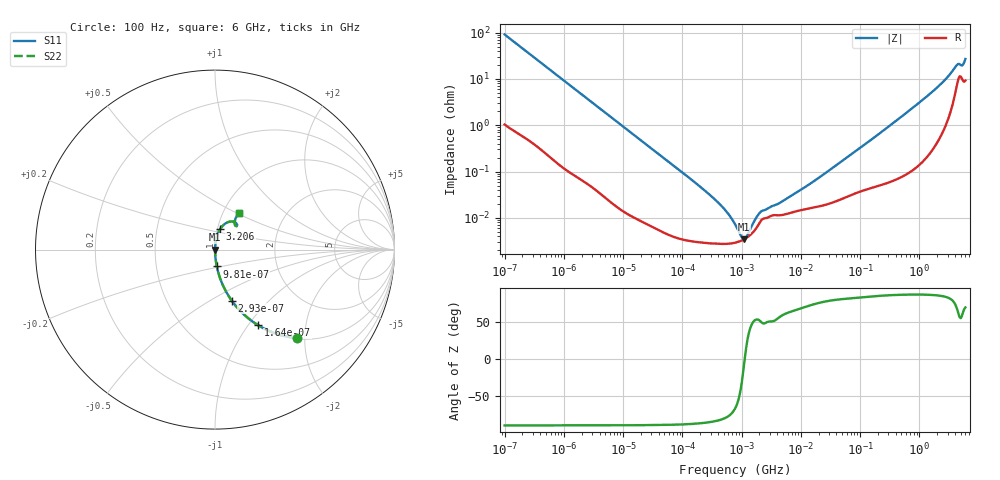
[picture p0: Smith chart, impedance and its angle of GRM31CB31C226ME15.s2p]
!Murata Part Number: GRM31CB31C226ME15
!These Parameters are Measured in Series Mode Connection
!Data Generated on Mar 30, 2021
!  o--ll--o
!Port1  Port2
!  o------o
!Operation Temp=25[degC], DC Bias Voltage=0[V]
!Freq. Start=100[Hz] Stop=6[GHz] 401[Steps]
# Hz S RI R 50
!Freq.(Hz) S11(Real) S11(Imag) S21(Real) S21(Imag) S12(Real) S12(Imag) S22(Real) S22(Imag)
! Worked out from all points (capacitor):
!   401 points, 100 Hz to 6 GHz, reference 50 ohm
!   read as one part in series: C = 17.4 uF near 109 Hz
!   lowest |Z| = 3.46 mohm at 1.108 MHz (marker M1)
!   series resonance near 1.129 MHz, so ESL is about 1.1 nH
!   S11 on the Smith chart (normalised r, x): 100 Hz: 1.02, -1.83; 164 Hz: 1.01, -1.12; 293 Hz: 1.01, -0.63; 981 Hz: 1.00, -0.19; 3.206 GHz: 1.03, +0.24; 6 GHz: 1.18, +0.51
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100  0.4553 -0.4924  0.5447 0.4924  0.5447 0.4924  0.4553 -0.4924
164  0.2414 -0.4219  0.7586 0.4219  0.7586 0.4219  0.2414 -0.4219
293  0.0931 -0.284  0.9069 0.284  0.9069 0.284  0.0931 -0.284
524  0.0323 -0.1705  0.9677 0.1705  0.9677 0.1705  0.0323 -0.1705
981  0.0101 -0.0937  0.9899 0.0937  0.9899 0.0937  0.0101 -0.0937
2008  0.00281 -0.0464  0.9972 0.0464  0.9972 0.0464  0.00281 -0.0464
40335  5.94e-05 -0.00238  0.9999 0.00238  0.9999 0.00238  5.94e-05 -0.00238
276587  2.85e-05 -0.000331  1 0.000331  1 0.000331  2.85e-05 -0.000331
432798  2.74e-05 -0.000193  1 0.000193  1 0.000193  2.74e-05 -0.000193
647581  2.79e-05 -0.000102  1 0.000102  1 0.000102  2.79e-05 -0.000102
774597  2.9e-05 -6.75e-05  1 6.75e-05  1 6.75e-05  2.9e-05 -6.75e-05
1108252  3.45e-05 -3.2e-06  1 3.2e-06  1 3.2e-06  3.45e-05 -3.2e-06
1734173  5.75e-05 7.76e-05  0.9999 -7.76e-05  0.9999 -7.76e-05  5.75e-05 7.76e-05
2169299  8.96e-05 0.000107  0.9999 -0.000107  0.9999 -0.000107  8.96e-05 0.000107
4440638  0.000114 0.000178  0.9999 -0.000178  0.9999 -0.000178  0.000114 0.000178
1.555665e7  0.000165 0.000561  0.9998 -0.000561  0.9998 -0.000561  0.000165 0.000561
3.124326e8  0.000679 0.00962  0.9993 -0.00962  0.9993 -0.00962  0.000679 0.00962
1.497423e9  0.00464 0.0469  0.9954 -0.0469  0.9954 -0.0469  0.00464 0.0469
3.205649e9  0.0293 0.115  0.9707 -0.115  0.9707 -0.115  0.0293 0.115
4.193612e9  0.0848 0.1566  0.9152 -0.1566  0.9152 -0.1566  0.0848 0.1566
5.245841e9  0.1121 0.1339  0.8879 -0.1339  0.8879 -0.1339  0.1121 0.1339
6e9  0.1313 0.2013  0.8687 -0.2013  0.8687 -0.2013  0.1313 0.2013
